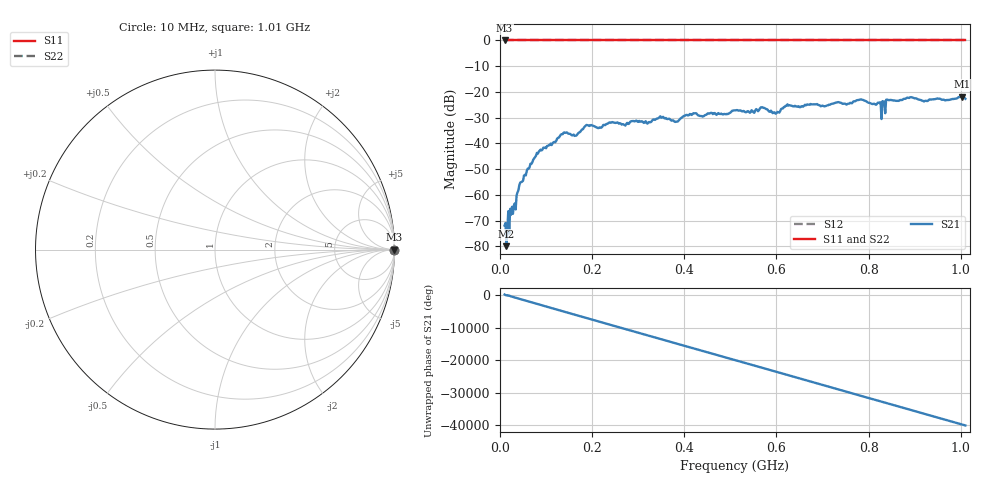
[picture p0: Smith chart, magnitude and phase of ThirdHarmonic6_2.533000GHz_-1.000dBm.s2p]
! 8/17/2025 5:04:02 AM
! C:\ANRITSUVNA\TEMP\TEMP.S2P
! CHANNEL.1
! TR.MEASUREMENT
! RAW.DATA
! RF.CORRECTION.OFF
! AVERAGING.OFF
! IF.BANDWIDTH: 5KHZ
! SWEEPTYPE:  FREQ.SWEEP(Linear)
! Reference Plane Port Info
! PORT:  PORT1  PORT2
! DISTANCE:  0  m  0  m
! TIME:  0  s  0  s
! PHASE.OFFSET:  0  deg.  0  deg.
! LOSS:  0  dB  0  dB
! REF.LOSS:  0  dB  0  dB
! REF.FREQ:  0  Hz  0  Hz
! Power Info
! POWER:  -20  dBm  -20  dBm
! EFF.POWER:  -20  dBm  -20  dBm
! SOURCE.ATTEN:  0  dB  0  dB
! TEST.ATTEN:  0  dB  0  dB
# GHZ S RI R 50.0
! FREQ.GHZ  S11RE  S11IM  S21RE  S21IM  S12RE  S12IM  S22RE  S22IM
!; PortSelection: Port_12
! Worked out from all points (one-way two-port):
!   501 points, 10 MHz to 1.01 GHz, reference 50 ohm
!   highest |S21| = -21.77 dB at 1.002 GHz (marker M1); lowest = -79.9 dB at 14 MHz (marker M2)
!   lowest |S11| = 0.0 dB at 10 MHz (marker M3)
!   |S11| at or under -10 dB: nowhere
!   |S22| runs from 0.0 to 0.0 dB; largest |S21 - S12| = 1.1
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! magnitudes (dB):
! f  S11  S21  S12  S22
! 10 MHz  0.0  -71.9  0.0  0.0
! 14 MHz  0.0  -79.9  0.0  0.0
! 16 MHz  0.0  -73.0  0.0  0.0
! 32 MHz  0.0  -63.3  0.0  0.0
! 42 MHz  0.0  -56.1  0.0  0.0
! 84 MHz  0.0  -43.2  0.0  0.0
! 136 MHz  0.0  -36.4  0.0  0.0
! 162 MHz  0.0  -37.1  0.0  0.0
! 178 MHz  0.0  -34.6  0.0  0.0
! 344 MHz  0.0  -30.1  0.0  0.0
! 382 MHz  0.0  -31.6  0.0  0.0
! 422 MHz  0.0  -28.3  0.0  0.0
! 510 MHz  0.0  -27.1  0.0  0.0
! 570 MHz  0.0  -25.9  0.0  0.0
! 596 MHz  0.0  -27.9  0.0  0.0
! 624 MHz  0.0  -24.8  0.0  0.0
! 678 MHz  0.0  -24.8  0.0  0.0
! 784 MHz  0.0  -22.9  0.0  0.0
! 832 MHz  0.0  -23.7  0.0  0.0
! 844 MHz  0.0  -23.2  0.0  0.0
! 1.002 GHz  0.0  -21.8  0.0  0.0
! 1.01 GHz  0.0  -22.7  0.0  0.0
